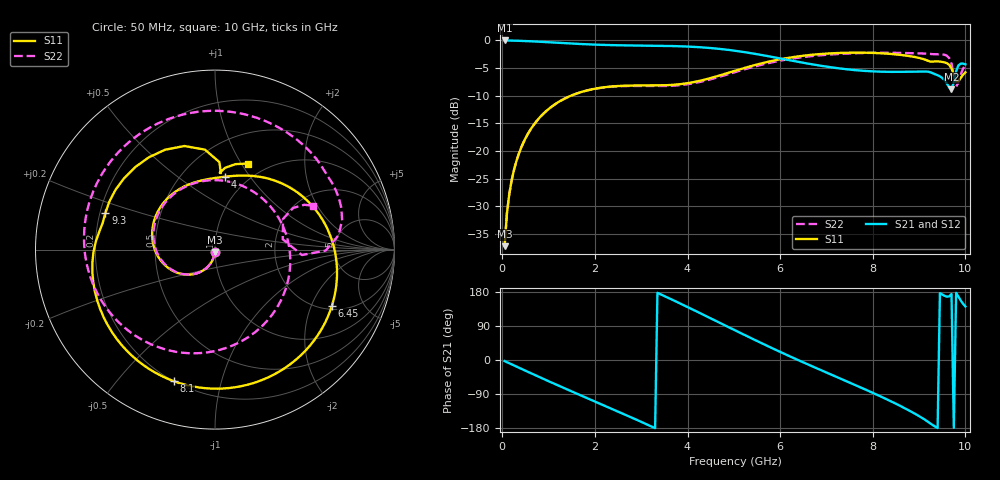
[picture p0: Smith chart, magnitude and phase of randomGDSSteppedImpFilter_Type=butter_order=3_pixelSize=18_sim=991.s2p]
! freq	dB(S11)	phase(S11)	dB(S12)	phase(S12)
!  dB(S21)	phase(S21)	dB(S22)	phase(S22)
!S-par simulation data
#  GHz  S  DB  R 50
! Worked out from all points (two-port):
!   200 points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, 50 MHz to 10 GHz, reference 50 ohm
!   highest |S21| = -0.01 dB at 50 MHz (marker M1); lowest = -8.8 dB at 9.7 GHz (marker M2)
!   |S21| within 3 dB of the highest: start of sweep to 5.84 GHz
!   lowest |S11| = -37.2 dB at 50 MHz (marker M3), VSWR 1.03, Z = 49.9 - j1.37 ohm
!   |S11| at or under -10 dB: start of sweep to 1.481 GHz
!   |S22| runs from -37.2 to -2.2 dB; largest |S21 - S12| = 0
!   S11 on the Smith chart (normalised r, x): 50 MHz: 1.00, -0.03; 4 GHz: 0.79, +0.77; 6.45 GHz: 2.17, -2.85; 8.1 GHz: 0.20, -0.72; 9.3 GHz: 0.22, +0.15; 10 GHz: 0.82, +1.07
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0.05  -37.22 -93.0  -0.01 -2.9  -0.01 -2.9  -37.22 -93.0
0.2  -25.39 -101.8  -0.03 -11.4  -0.03 -11.4  -25.40 -101.8
0.5  -17.71 -118.9  -0.11 -28.3  -0.11 -28.3  -17.72 -118.9
1.15  -11.48 -154.5  -0.40 -64.2  -0.40 -64.2  -11.49 -155.2
1.75  -9.22 174.7  -0.67 -96.2  -0.67 -96.2  -9.24 171.4
2.65  -8.19 132.6  -0.90 -144.1  -0.90 -144.1  -8.25 118.0
3.4  -8.14 102.6  -0.97 174.5  -0.97 174.5  -8.26 65.3
4  -7.73 81.9  -1.11 139.7  -1.11 139.7  -7.92 16.6
4.55  -6.69 62.3  -1.41 106.9  -1.41 106.9  -6.91 -29.4
5.05  -5.43 41.5  -1.90 76.8  -1.90 76.8  -5.67 -68.7
5.7  -3.94 11.0  -2.79 38.5  -2.79 38.5  -4.19 -114.5
6.45  -2.82 -25.7  -3.97 -3.6  -3.97 -3.6  -3.06 -161.8
6.7  -2.59 -37.8  -4.34 -17.1  -4.34 -17.1  -2.82 -176.7
7.35  -2.25 -69.2  -5.14 -51.7  -5.14 -51.7  -2.41 145.6
8.1  -2.29 -107.4  -5.63 -92.2  -5.63 -92.2  -2.23 103.0
8.35  -2.42 -121.8  -5.68 -106.5  -5.68 -106.5  -2.23 89.0
8.9  -2.99 -160.6  -5.64 -141.1  -5.64 -141.1  -2.32 58.4
9.3  -3.83 161.7  -5.96 -172.2  -5.96 -172.2  -2.49 35.8
9.5  -3.89 134.1  -6.79 172.7  -6.79 172.7  -2.53 22.6
9.7  -5.04 95.7  -8.81 174.2  -8.81 174.2  -4.20 -0.5
9.8  -7.38 85.6  -5.58 177.3  -5.58 177.3  -8.36 8.7
10  -5.77 68.8  -4.31 141.1  -4.31 141.1  -4.43 24.0
